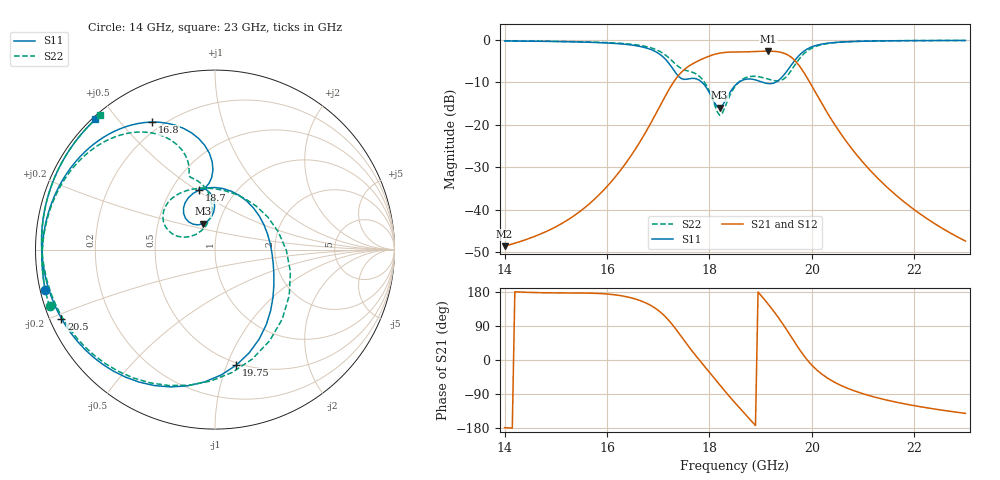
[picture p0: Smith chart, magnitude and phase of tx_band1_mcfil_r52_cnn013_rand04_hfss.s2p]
! Touchstone file exported from HFSS 3D Layout Design 2026.1.0
!  File:  D:/Work/SIM/ADS_AUTO_SIM/projects/RFSOC_RF/TX_Fillter.aedt
!  Generated:  05:14:54 AM Aug 31, 2026
!  Design:  TX_BAND1_MCFIL_R52_CNN013
!  Project:  TX_Fillter
# GHz S MA R 50.000000
! Terminal data exported
! Port[1] = Port1
! Port[2] = Port2
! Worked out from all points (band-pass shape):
!   181 points, 14 GHz to 23 GHz, reference 50 ohm
!   highest |S21| = -2.64 dB at 19.15 GHz (marker M1); lowest = -48.6 dB at 14 GHz (marker M2)
!   |S21| within 3 dB of the highest: 17.67 GHz to 19.73 GHz (2.055 GHz wide, 11 % of centre)
!   lowest |S11| = -16.0 dB at 18.2 GHz (marker M3), VSWR 1.38, Z = 42.1 + j12.4 ohm
!   |S11| at or under -10 dB: 17.86 GHz to 18.57 GHz (717.8 MHz wide, 3.94 % of centre); 19.05 GHz to 19.29 GHz (241.7 MHz wide, 1.26 % of centre)
!   |S22| runs from -17.7 to -0.1 dB; largest |S21 - S12| = 1.3e-14
!   S11 on the Smith chart (normalised r, x): 14 GHz: 0.01, -0.12; 16.8 GHz: 0.16, +0.61; 18.7 GHz: 0.68, +0.51; 19.75 GHz: 0.48, -1.08; 20.5 GHz: 0.03, -0.21; 23 GHz: 0.01, +0.44
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14  0.9722 -166.6  0.003713 -178.5  0.003713 -178.5  0.9747 -161.1
15.5  0.9441 162.4  0.009816 176.8  0.009816 176.8  0.9506 169.9
16.25  0.8996 140.5  0.02837 170.2  0.02837 170.2  0.9133 150.2
16.8  0.7931 116.4  0.0911 147.9  0.0911 147.9  0.8259 129.3
17  0.6977 104.5  0.1518 131.0  0.1518 131.0  0.7486 119.3
17.25  0.4907 91.8  0.2855 97.7  0.2855 97.7  0.5831 108.3
17.55  0.3438 104.1  0.4685 43.5  0.4685 43.5  0.4355 109.3
17.9  0.2963 92.8  0.6107 -16.0  0.6107 -16.0  0.3197 96.7
18.2  0.1585 115.0  0.6982 -65.5  0.6982 -65.5  0.1296 125.4
18.5  0.2894 127.4  0.7207 -113.1  0.7207 -113.1  0.2824 157.7
18.7  0.3431 105.0  0.7226 -142.9  0.7226 -142.9  0.3571 143.4
18.95  0.3309 65.9  0.732 179.4  0.732 179.4  0.3693 120.9
19.15  0.3057 26.7  0.7376 147.1  0.7376 147.1  0.3454 97.6
19.3  0.3185 -3.9  0.7301 120.7  0.7301 120.7  0.3297 71.2
19.45  0.3831 -31.1  0.6986 91.9  0.6986 91.9  0.3458 31.4
19.6  0.5057 -55.6  0.6239 60.8  0.6239 60.8  0.4382 -16.5
19.75  0.654 -79.5  0.5012 29.6  0.5012 29.6  0.5923 -59.1
20  0.8294 -114.1  0.2872 -13.4  0.2872 -13.4  0.7999 -108.8
20.25  0.9047 -138.5  0.1564 -42.5  0.1564 -42.5  0.8939 -138.7
20.5  0.9377 -155.8  0.08989 -62.6  0.08989 -62.6  0.9345 -158.0
21.5  0.9758 164.7  0.0177 -106.9  0.0177 -106.9  0.977 161.6
23  0.9849 132.6  0.004264 -140.9  0.004264 -140.9  0.9854 130.4
